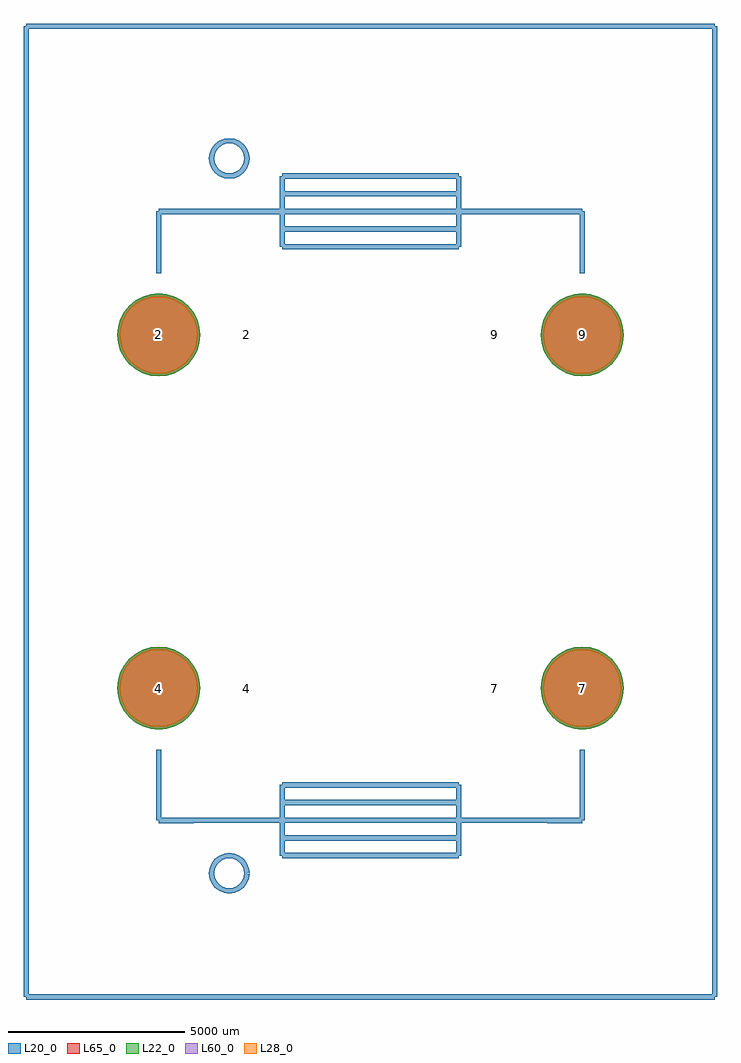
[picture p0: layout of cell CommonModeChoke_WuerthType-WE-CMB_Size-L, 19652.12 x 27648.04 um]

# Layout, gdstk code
import gdstk
lib = gdstk.Library(unit=1e-6, precision=1e-09)
def P(c, l, *ps):  # polygons
    for p in ps: c.add(gdstk.Polygon(p, *l))
L20_0 = (20, 0)
L22_0 = (22, 0)
L28_0 = (28, 0)
L60_0 = (60, 0)
L65_0 = (65, 0)

commonmodechoke_wuerthty = lib.new_cell('CommonModeChoke_WuerthType-WE-CMB_Size-L')
P(commonmodechoke_wuerthty, L22_0, [(-4824.66,5001.26),(-4847.234,5230.456),(-4914.088,5450.844),(-5022.653,5653.955),(-5168.757,5831.983),(-5346.785,5978.087),(-5549.896,6086.652),(-5770.284,6153.506),(-5999.48,6176.08),(-6228.676,6153.506),(-6449.064,6086.652),(-6652.175,5978.087),(-6830.203,5831.983),(-6976.307,5653.955),(-7084.872,5450.844),(-7151.726,5230.456),(-7174.3,5001.26),(-7151.726,4772.064),(-7084.872,4551.676),(-6976.307,4348.565),(-6830.203,4170.537),(-6652.175,4024.433),(-6449.064,3915.868),(-6228.676,3849.014),(-5999.48,3826.44),(-5770.284,3849.014),(-5549.896,3915.868),(-5346.785,4024.433),(-5168.757,4170.537),(-5022.653,4348.565),(-4914.088,4551.676),(-4847.234,4772.064)],
  [(7174.3,5001.26),(7151.726,5230.456),(7084.872,5450.844),(6976.307,5653.955),(6830.203,5831.983),(6652.175,5978.087),(6449.064,6086.652),(6228.676,6153.506),(5999.48,6176.08),(5770.284,6153.506),(5549.896,6086.652),(5346.785,5978.087),(5168.757,5831.983),(5022.653,5653.955),(4914.088,5450.844),(4847.234,5230.456),(4824.66,5001.26),(4847.234,4772.064),(4914.088,4551.676),(5022.653,4348.565),(5168.757,4170.537),(5346.785,4024.433),(5549.896,3915.868),(5770.284,3849.014),(5999.48,3826.44),(6228.676,3849.014),(6449.064,3915.868),(6652.175,4024.433),(6830.203,4170.537),(6976.307,4348.565),(7084.872,4551.676),(7151.726,4772.064)],
  [(7174.3,-5001.26),(7151.726,-4772.064),(7084.872,-4551.676),(6976.307,-4348.565),(6830.203,-4170.537),(6652.175,-4024.433),(6449.064,-3915.868),(6228.676,-3849.014),(5999.48,-3826.44),(5770.284,-3849.014),(5549.896,-3915.868),(5346.785,-4024.433),(5168.757,-4170.537),(5022.653,-4348.565),(4914.088,-4551.676),(4847.234,-4772.064),(4824.66,-5001.26),(4847.234,-5230.456),(4914.088,-5450.844),(5022.653,-5653.955),(5168.757,-5831.983),(5346.785,-5978.087),(5549.896,-6086.652),(5770.284,-6153.506),(5999.48,-6176.08),(6228.676,-6153.506),(6449.064,-6086.652),(6652.175,-5978.087),(6830.203,-5831.983),(6976.307,-5653.955),(7084.872,-5450.844),(7151.726,-5230.456)],
  [(-4824.66,-5001.26),(-4847.234,-4772.064),(-4914.088,-4551.676),(-5022.653,-4348.565),(-5168.757,-4170.537),(-5346.785,-4024.433),(-5549.896,-3915.868),(-5770.284,-3849.014),(-5999.48,-3826.44),(-6228.676,-3849.014),(-6449.064,-3915.868),(-6652.175,-4024.433),(-6830.203,-4170.537),(-6976.307,-4348.565),(-7084.872,-4551.676),(-7151.726,-4772.064),(-7174.3,-5001.26),(-7151.726,-5230.456),(-7084.872,-5450.844),(-6976.307,-5653.955),(-6830.203,-5831.983),(-6652.175,-5978.087),(-6449.064,-6086.652),(-6228.676,-6153.506),(-5999.48,-6176.08),(-5770.284,-6153.506),(-5549.896,-6086.652),(-5346.785,-5978.087),(-5168.757,-5831.983),(-5022.653,-5653.955),(-4914.088,-5450.844),(-4847.234,-5230.456)])
P(commonmodechoke_wuerthty, L28_0, [(-4899.66,5001.26),(-4920.793,5215.824),(-4983.379,5422.143),(-5085.013,5612.287),(-5221.79,5778.95),(-5388.453,5915.727),(-5578.597,6017.361),(-5784.916,6079.947),(-5999.48,6101.08),(-6214.044,6079.947),(-6420.363,6017.361),(-6610.507,5915.727),(-6777.17,5778.95),(-6913.947,5612.287),(-7015.581,5422.143),(-7078.167,5215.824),(-7099.3,5001.26),(-7078.167,4786.696),(-7015.581,4580.377),(-6913.947,4390.233),(-6777.17,4223.57),(-6610.507,4086.793),(-6420.363,3985.159),(-6214.044,3922.573),(-5999.48,3901.44),(-5784.916,3922.573),(-5578.597,3985.159),(-5388.453,4086.793),(-5221.79,4223.57),(-5085.013,4390.233),(-4983.379,4580.377),(-4920.793,4786.696)],
  [(7099.3,5001.26),(7078.167,5215.824),(7015.581,5422.143),(6913.947,5612.287),(6777.17,5778.95),(6610.507,5915.727),(6420.363,6017.361),(6214.044,6079.947),(5999.48,6101.08),(5784.916,6079.947),(5578.597,6017.361),(5388.453,5915.727),(5221.79,5778.95),(5085.013,5612.287),(4983.379,5422.143),(4920.793,5215.824),(4899.66,5001.26),(4920.793,4786.696),(4983.379,4580.377),(5085.013,4390.233),(5221.79,4223.57),(5388.453,4086.793),(5578.597,3985.159),(5784.916,3922.573),(5999.48,3901.44),(6214.044,3922.573),(6420.363,3985.159),(6610.507,4086.793),(6777.17,4223.57),(6913.947,4390.233),(7015.581,4580.377),(7078.167,4786.696)],
  [(7099.3,-5001.26),(7078.167,-4786.696),(7015.581,-4580.377),(6913.947,-4390.233),(6777.17,-4223.57),(6610.507,-4086.793),(6420.363,-3985.159),(6214.044,-3922.573),(5999.48,-3901.44),(5784.916,-3922.573),(5578.597,-3985.159),(5388.453,-4086.793),(5221.79,-4223.57),(5085.013,-4390.233),(4983.379,-4580.377),(4920.793,-4786.696),(4899.66,-5001.26),(4920.793,-5215.824),(4983.379,-5422.143),(5085.013,-5612.287),(5221.79,-5778.95),(5388.453,-5915.727),(5578.597,-6017.361),(5784.916,-6079.947),(5999.48,-6101.08),(6214.044,-6079.947),(6420.363,-6017.361),(6610.507,-5915.727),(6777.17,-5778.95),(6913.947,-5612.287),(7015.581,-5422.143),(7078.167,-5215.824)],
  [(-4899.66,-5001.26),(-4920.793,-4786.696),(-4983.379,-4580.377),(-5085.013,-4390.233),(-5221.79,-4223.57),(-5388.453,-4086.793),(-5578.597,-3985.159),(-5784.916,-3922.573),(-5999.48,-3901.44),(-6214.044,-3922.573),(-6420.363,-3985.159),(-6610.507,-4086.793),(-6777.17,-4223.57),(-6913.947,-4390.233),(-7015.581,-4580.377),(-7078.167,-4786.696),(-7099.3,-5001.26),(-7078.167,-5215.824),(-7015.581,-5422.143),(-6913.947,-5612.287),(-6777.17,-5778.95),(-6610.507,-5915.727),(-6420.363,-6017.361),(-6214.044,-6079.947),(-5999.48,-6101.08),(-5784.916,-6079.947),(-5578.597,-6017.361),(-5388.453,-5915.727),(-5221.79,-5778.95),(-5085.013,-5612.287),(-4983.379,-5422.143),(-4920.793,-5215.824)])
P(commonmodechoke_wuerthty, L60_0, [(-4899.66,5001.26),(-4920.793,5215.824),(-4983.379,5422.143),(-5085.013,5612.287),(-5221.79,5778.95),(-5388.453,5915.727),(-5578.597,6017.361),(-5784.916,6079.947),(-5999.48,6101.08),(-6214.044,6079.947),(-6420.363,6017.361),(-6610.507,5915.727),(-6777.17,5778.95),(-6913.947,5612.287),(-7015.581,5422.143),(-7078.167,5215.824),(-7099.3,5001.26),(-7078.167,4786.696),(-7015.581,4580.377),(-6913.947,4390.233),(-6777.17,4223.57),(-6610.507,4086.793),(-6420.363,3985.159),(-6214.044,3922.573),(-5999.48,3901.44),(-5784.916,3922.573),(-5578.597,3985.159),(-5388.453,4086.793),(-5221.79,4223.57),(-5085.013,4390.233),(-4983.379,4580.377),(-4920.793,4786.696)],
  [(7099.3,5001.26),(7078.167,5215.824),(7015.581,5422.143),(6913.947,5612.287),(6777.17,5778.95),(6610.507,5915.727),(6420.363,6017.361),(6214.044,6079.947),(5999.48,6101.08),(5784.916,6079.947),(5578.597,6017.361),(5388.453,5915.727),(5221.79,5778.95),(5085.013,5612.287),(4983.379,5422.143),(4920.793,5215.824),(4899.66,5001.26),(4920.793,4786.696),(4983.379,4580.377),(5085.013,4390.233),(5221.79,4223.57),(5388.453,4086.793),(5578.597,3985.159),(5784.916,3922.573),(5999.48,3901.44),(6214.044,3922.573),(6420.363,3985.159),(6610.507,4086.793),(6777.17,4223.57),(6913.947,4390.233),(7015.581,4580.377),(7078.167,4786.696)],
  [(7099.3,-5001.26),(7078.167,-4786.696),(7015.581,-4580.377),(6913.947,-4390.233),(6777.17,-4223.57),(6610.507,-4086.793),(6420.363,-3985.159),(6214.044,-3922.573),(5999.48,-3901.44),(5784.916,-3922.573),(5578.597,-3985.159),(5388.453,-4086.793),(5221.79,-4223.57),(5085.013,-4390.233),(4983.379,-4580.377),(4920.793,-4786.696),(4899.66,-5001.26),(4920.793,-5215.824),(4983.379,-5422.143),(5085.013,-5612.287),(5221.79,-5778.95),(5388.453,-5915.727),(5578.597,-6017.361),(5784.916,-6079.947),(5999.48,-6101.08),(6214.044,-6079.947),(6420.363,-6017.361),(6610.507,-5915.727),(6777.17,-5778.95),(6913.947,-5612.287),(7015.581,-5422.143),(7078.167,-5215.824)],
  [(-4899.66,-5001.26),(-4920.793,-4786.696),(-4983.379,-4580.377),(-5085.013,-4390.233),(-5221.79,-4223.57),(-5388.453,-4086.793),(-5578.597,-3985.159),(-5784.916,-3922.573),(-5999.48,-3901.44),(-6214.044,-3922.573),(-6420.363,-3985.159),(-6610.507,-4086.793),(-6777.17,-4223.57),(-6913.947,-4390.233),(-7015.581,-4580.377),(-7078.167,-4786.696),(-7099.3,-5001.26),(-7078.167,-5215.824),(-7015.581,-5422.143),(-6913.947,-5612.287),(-6777.17,-5778.95),(-6610.507,-5915.727),(-6420.363,-6017.361),(-6214.044,-6079.947),(-5999.48,-6101.08),(-5784.916,-6079.947),(-5578.597,-6017.361),(-5388.453,-5915.727),(-5221.79,-5778.95),(-5085.013,-5612.287),(-4983.379,-5422.143),(-4920.793,-5215.824)])
P(commonmodechoke_wuerthty, L65_0, [(-4824.66,5001.26),(-4847.234,5230.456),(-4914.088,5450.844),(-5022.653,5653.955),(-5168.757,5831.983),(-5346.785,5978.087),(-5549.896,6086.652),(-5770.284,6153.506),(-5999.48,6176.08),(-6228.676,6153.506),(-6449.064,6086.652),(-6652.175,5978.087),(-6830.203,5831.983),(-6976.307,5653.955),(-7084.872,5450.844),(-7151.726,5230.456),(-7174.3,5001.26),(-7151.726,4772.064),(-7084.872,4551.676),(-6976.307,4348.565),(-6830.203,4170.537),(-6652.175,4024.433),(-6449.064,3915.868),(-6228.676,3849.014),(-5999.48,3826.44),(-5770.284,3849.014),(-5549.896,3915.868),(-5346.785,4024.433),(-5168.757,4170.537),(-5022.653,4348.565),(-4914.088,4551.676),(-4847.234,4772.064)],
  [(7174.3,5001.26),(7151.726,5230.456),(7084.872,5450.844),(6976.307,5653.955),(6830.203,5831.983),(6652.175,5978.087),(6449.064,6086.652),(6228.676,6153.506),(5999.48,6176.08),(5770.284,6153.506),(5549.896,6086.652),(5346.785,5978.087),(5168.757,5831.983),(5022.653,5653.955),(4914.088,5450.844),(4847.234,5230.456),(4824.66,5001.26),(4847.234,4772.064),(4914.088,4551.676),(5022.653,4348.565),(5168.757,4170.537),(5346.785,4024.433),(5549.896,3915.868),(5770.284,3849.014),(5999.48,3826.44),(6228.676,3849.014),(6449.064,3915.868),(6652.175,4024.433),(6830.203,4170.537),(6976.307,4348.565),(7084.872,4551.676),(7151.726,4772.064)],
  [(7174.3,-5001.26),(7151.726,-4772.064),(7084.872,-4551.676),(6976.307,-4348.565),(6830.203,-4170.537),(6652.175,-4024.433),(6449.064,-3915.868),(6228.676,-3849.014),(5999.48,-3826.44),(5770.284,-3849.014),(5549.896,-3915.868),(5346.785,-4024.433),(5168.757,-4170.537),(5022.653,-4348.565),(4914.088,-4551.676),(4847.234,-4772.064),(4824.66,-5001.26),(4847.234,-5230.456),(4914.088,-5450.844),(5022.653,-5653.955),(5168.757,-5831.983),(5346.785,-5978.087),(5549.896,-6086.652),(5770.284,-6153.506),(5999.48,-6176.08),(6228.676,-6153.506),(6449.064,-6086.652),(6652.175,-5978.087),(6830.203,-5831.983),(6976.307,-5653.955),(7084.872,-5450.844),(7151.726,-5230.456)],
  [(-4824.66,-5001.26),(-4847.234,-4772.064),(-4914.088,-4551.676),(-5022.653,-4348.565),(-5168.757,-4170.537),(-5346.785,-4024.433),(-5549.896,-3915.868),(-5770.284,-3849.014),(-5999.48,-3826.44),(-6228.676,-3849.014),(-6449.064,-3915.868),(-6652.175,-4024.433),(-6830.203,-4170.537),(-6976.307,-4348.565),(-7084.872,-4551.676),(-7151.726,-4772.064),(-7174.3,-5001.26),(-7151.726,-5230.456),(-7084.872,-5450.844),(-6976.307,-5653.955),(-6830.203,-5831.983),(-6652.175,-5978.087),(-6449.064,-6086.652),(-6228.676,-6153.506),(-5999.48,-6176.08),(-5770.284,-6153.506),(-5549.896,-6086.652),(-5346.785,-5978.087),(-5168.757,-5831.983),(-5022.653,-5653.955),(-4914.088,-5450.844),(-4847.234,-5230.456)])
commonmodechoke_wuerthty.add(gdstk.FlexPath([(-2499.36,9502.14),(0,9502.14)], 149.998, ends="flush", simple_path=True, layer=20, datatype=0))  # L20_0
commonmodechoke_wuerthty.add(gdstk.FlexPath([(-2499.36,7500.62),(-2499.36,9502.14)], 149.998, ends="flush", simple_path=True, layer=20, datatype=0))  # L20_0
commonmodechoke_wuerthty.add(gdstk.FlexPath([(-2499.36,8501.38),(-5001.26,8501.38)], 149.998, ends="flush", simple_path=True, layer=20, datatype=0))  # L20_0
commonmodechoke_wuerthty.add(gdstk.FlexPath([(2499.36,7500.62),(-2499.36,7500.62)], 149.998, ends="flush", simple_path=True, layer=20, datatype=0))  # L20_0
commonmodechoke_wuerthty.add(gdstk.FlexPath([(2499.36,9502.14),(2499.36,7500.62)], 149.998, ends="flush", simple_path=True, layer=20, datatype=0))  # L20_0
commonmodechoke_wuerthty.add(gdstk.FlexPath([(0,9502.14),(2499.36,9502.14)], 149.998, ends="flush", simple_path=True, layer=20, datatype=0))  # L20_0
commonmodechoke_wuerthty.add(gdstk.FlexPath([(-2499.36,8501.38),(2499.36,8501.38)], 149.998, ends="flush", simple_path=True, layer=20, datatype=0))  # L20_0
commonmodechoke_wuerthty.add(gdstk.FlexPath([(2499.36,9001.76),(-2499.36,9001.76)], 149.998, ends="flush", simple_path=True, layer=20, datatype=0))  # L20_0
commonmodechoke_wuerthty.add(gdstk.FlexPath([(-2499.36,8001),(2499.36,8001)], 149.998, ends="flush", simple_path=True, layer=20, datatype=0))  # L20_0
commonmodechoke_wuerthty.add(gdstk.FlexPath([(2499.36,8501.38),(5001.26,8501.38)], 149.998, ends="flush", simple_path=True, layer=20, datatype=0))  # L20_0
commonmodechoke_wuerthty.add(gdstk.FlexPath([(2499.36,-7747),(2499.36,-9748.52)], 149.998, ends="flush", simple_path=True, layer=20, datatype=0))  # L20_0
commonmodechoke_wuerthty.add(gdstk.FlexPath([(-2499.36,-7747),(2499.36,-7747)], 149.998, ends="flush", simple_path=True, layer=20, datatype=0))  # L20_0
commonmodechoke_wuerthty.add(gdstk.FlexPath([(-2499.36,-9748.52),(-2499.36,-7747)], 149.998, ends="flush", simple_path=True, layer=20, datatype=0))  # L20_0
commonmodechoke_wuerthty.add(gdstk.FlexPath([(2499.36,-9748.52),(-2499.36,-9748.52)], 149.998, ends="flush", simple_path=True, layer=20, datatype=0))  # L20_0
commonmodechoke_wuerthty.add(gdstk.FlexPath([(5001.26,-8747.76),(2499.36,-8747.76)], 149.998, ends="flush", simple_path=True, layer=20, datatype=0))  # L20_0
commonmodechoke_wuerthty.add(gdstk.FlexPath([(-5001.26,-8747.76),(-2499.36,-8747.76)], 149.998, ends="flush", simple_path=True, layer=20, datatype=0))  # L20_0
commonmodechoke_wuerthty.add(gdstk.FlexPath([(2499.36,-8247.38),(-2499.36,-8247.38)], 149.998, ends="flush", simple_path=True, layer=20, datatype=0))  # L20_0
commonmodechoke_wuerthty.add(gdstk.FlexPath([(-2499.36,-9248.14),(2499.36,-9248.14)], 149.998, ends="flush", simple_path=True, layer=20, datatype=0))  # L20_0
commonmodechoke_wuerthty.add(gdstk.FlexPath([(2499.36,-8747.76),(-2499.36,-8747.76)], 149.998, ends="flush", simple_path=True, layer=20, datatype=0))  # L20_0
commonmodechoke_wuerthty.add(gdstk.FlexPath([(-3500.12,10002.52),(-3517.17,10132.028),(-3567.158,10252.71),(-3646.678,10356.342),(-3750.31,10435.862),(-3870.992,10485.85),(-4000.5,10502.9),(-4130.008,10485.85),(-4250.69,10435.862),(-4354.322,10356.342),(-4433.842,10252.71),(-4483.83,10132.028),(-4500.88,10002.52),(-4483.83,9873.012),(-4433.842,9752.33),(-4354.322,9648.698),(-4250.69,9569.178),(-4130.008,9519.19),(-4000.5,9502.14),(-3870.992,9519.19),(-3750.31,9569.178),(-3646.678,9648.698),(-3567.158,9752.33),(-3517.17,9873.012),(-3500.12,10002.52)], 149.998, ends="flush", simple_path=True, layer=20, datatype=0))  # L20_0
commonmodechoke_wuerthty.add(gdstk.FlexPath([(-3500.12,-10248.9),(-3517.17,-10119.392),(-3567.158,-9998.71),(-3646.678,-9895.078),(-3750.31,-9815.558),(-3870.992,-9765.57),(-4000.5,-9748.52),(-4130.008,-9765.57),(-4250.69,-9815.558),(-4354.322,-9895.078),(-4433.842,-9998.71),(-4483.83,-10119.392),(-4500.88,-10248.9),(-4483.83,-10378.408),(-4433.842,-10499.09),(-4354.322,-10602.722),(-4250.69,-10682.242),(-4130.008,-10732.23),(-4000.5,-10749.28),(-3870.992,-10732.23),(-3750.31,-10682.242),(-3646.678,-10602.722),(-3567.158,-10499.09),(-3517.17,-10378.408),(-3500.12,-10248.9)], 149.998, ends="flush", simple_path=True, layer=20, datatype=0))  # L20_0
commonmodechoke_wuerthty.add(gdstk.FlexPath([(9751.06,-13749.02),(-9751.06,-13749.02)], 149.998, ends="flush", simple_path=True, layer=20, datatype=0))  # L20_0
commonmodechoke_wuerthty.add(gdstk.FlexPath([(9751.06,13749.02),(9751.06,-13749.02)], 149.998, ends="flush", simple_path=True, layer=20, datatype=0))  # L20_0
commonmodechoke_wuerthty.add(gdstk.FlexPath([(9751.06,13749.02),(-9751.06,13749.02)], 149.998, ends="flush", simple_path=True, layer=20, datatype=0))  # L20_0
commonmodechoke_wuerthty.add(gdstk.FlexPath([(-9751.06,13749.02),(-9751.06,-13749.02)], 149.998, ends="flush", simple_path=True, layer=20, datatype=0))  # L20_0
commonmodechoke_wuerthty.add(gdstk.FlexPath([(5999.48,8498.84),(5999.48,6748.78)], 149.998, ends="flush", simple_path=True, layer=20, datatype=0))  # L20_0
commonmodechoke_wuerthty.add(gdstk.FlexPath([(5001.26,8498.84),(5999.48,8498.84)], 149.998, ends="flush", simple_path=True, layer=20, datatype=0))  # L20_0
commonmodechoke_wuerthty.add(gdstk.FlexPath([(-5999.48,8498.84),(-5999.48,6748.78)], 149.998, ends="flush", simple_path=True, layer=20, datatype=0))  # L20_0
commonmodechoke_wuerthty.add(gdstk.FlexPath([(-5001.26,8498.84),(-5999.48,8498.84)], 149.998, ends="flush", simple_path=True, layer=20, datatype=0))  # L20_0
commonmodechoke_wuerthty.add(gdstk.FlexPath([(-5999.48,-8750.3),(-5999.48,-6748.78)], 149.998, ends="flush", simple_path=True, layer=20, datatype=0))  # L20_0
commonmodechoke_wuerthty.add(gdstk.FlexPath([(-5001.26,-8750.3),(-5999.48,-8750.3)], 149.998, ends="flush", simple_path=True, layer=20, datatype=0))  # L20_0
commonmodechoke_wuerthty.add(gdstk.FlexPath([(5999.48,-8750.3),(5999.48,-6748.78)], 149.998, ends="flush", simple_path=True, layer=20, datatype=0))  # L20_0
commonmodechoke_wuerthty.add(gdstk.FlexPath([(5001.26,-8750.3),(5999.48,-8750.3)], 149.998, ends="flush", simple_path=True, layer=20, datatype=0))  # L20_0
commonmodechoke_wuerthty.add(gdstk.Label('2', (-5999.48,5001.26), layer=28, texttype=0))
commonmodechoke_wuerthty.add(gdstk.Label('9', (5999.48,5001.26), layer=28, texttype=0))
commonmodechoke_wuerthty.add(gdstk.Label('7', (5999.48,-5001.26), layer=28, texttype=0))
commonmodechoke_wuerthty.add(gdstk.Label('4', (-5999.48,-5001.26), layer=28, texttype=0))
commonmodechoke_wuerthty.add(gdstk.Label('4', (-3500.12,-5001.26), layer=9, texttype=0))
commonmodechoke_wuerthty.add(gdstk.Label('7', (3500.12,-5001.26), layer=9, texttype=0))
commonmodechoke_wuerthty.add(gdstk.Label('9', (3500.12,5001.26), layer=9, texttype=0))
commonmodechoke_wuerthty.add(gdstk.Label('2', (-3500.12,5001.26), layer=9, texttype=0))
commonmodechoke_wuerthty.add(gdstk.Label('type', (0,-17000.22), layer=9, texttype=0))
commonmodechoke_wuerthty.add(gdstk.Label('devicename', (0,15999.46), layer=9, texttype=0))

lib.write_gds('CommonModeChoke_WuerthType-WE-CMB_Size-L.gds')
